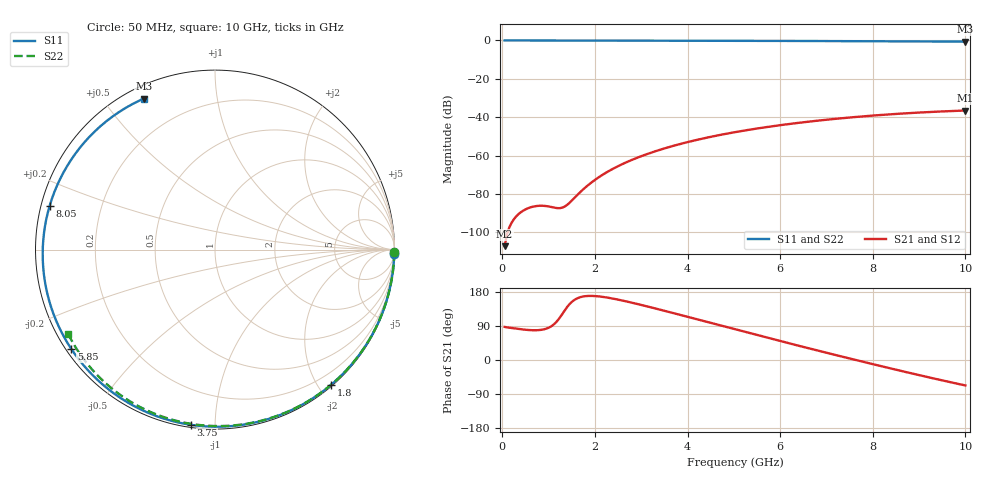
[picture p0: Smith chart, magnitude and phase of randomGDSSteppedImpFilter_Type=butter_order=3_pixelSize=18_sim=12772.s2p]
! freq	dB(S11)	phase(S11)	dB(S12)	phase(S12)
!  dB(S21)	phase(S21)	dB(S22)	phase(S22)
!S-par simulation data
#  GHz  S  DB  R 50
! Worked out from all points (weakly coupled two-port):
!   200 points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, 50 MHz to 10 GHz, reference 50 ohm
!   highest |S21| = -36.51 dB at 10 GHz (marker M1); lowest = -107.2 dB at 50 MHz (marker M2)
!   lowest |S11| = -0.6 dB at 10 GHz (marker M3), VSWR 27.72, Z = 2.53 + j31.6 ohm
!   |S11| at or under -10 dB: nowhere
!   |S22| runs from -0.5 to 0.0 dB; largest |S21 - S12| = 0
!   S11 on the Smith chart (normalised r, x): 50 MHz: 3, -85; 1.8 GHz: 0.02, -2.18; 3.75 GHz: 0.01, -0.87; 5.85 GHz: 0.01, -0.31; 8.05 GHz: 0.02, +0.13; 10 GHz: 0.05, +0.63
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0.05  -0.01 -1.4  -107.18 87.4  -107.18 87.4  -0.00 -0.8
0.4  -0.02 -11.2  -89.51 81.2  -89.51 81.2  -0.01 -6.9
0.8  -0.03 -22.3  -86.14 79.0  -86.14 79.0  -0.02 -13.8
1.2  -0.04 -33.2  -87.37 105.1  -87.37 105.1  -0.03 -20.6
1.6  -0.05 -44.0  -80.99 161.7  -80.99 161.7  -0.03 -27.4
1.65  -0.06 -45.3  -79.79 164.4  -79.79 164.4  -0.04 -28.2
1.75  -0.06 -48.0  -77.51 167.7  -77.51 167.7  -0.04 -29.9
1.8  -0.06 -49.3  -76.45 168.5  -76.45 168.5  -0.04 -30.7
2.1  -0.07 -57.1  -70.99 167.6  -70.99 167.6  -0.05 -35.7
2.45  -0.08 -66.1  -66.10 160.6  -66.10 160.6  -0.05 -41.5
2.9  -0.10 -77.4  -61.23 148.3  -61.23 148.3  -0.06 -48.8
3.4  -0.11 -89.6  -57.00 133.0  -57.00 133.0  -0.08 -56.8
3.75  -0.13 -97.9  -54.53 122.0  -54.53 122.0  -0.08 -62.3
4.4  -0.15 -113.0  -50.73 101.1  -50.73 101.1  -0.10 -72.2
5.05  -0.19 -127.6  -47.67 80.3  -47.67 80.3  -0.13 -81.9
5.85  -0.24 -145.3  -44.64 54.8  -44.64 54.8  -0.16 -93.5
6.7  -0.30 -164.1  -42.08 28.4  -42.08 28.4  -0.21 -105.4
7.4  -0.36 -179.8  -40.37 7.0  -40.37 7.0  -0.25 -115.0
8.05  -0.42 165.2  -39.06 -12.4  -39.06 -12.4  -0.30 -123.8
8.35  -0.45 158.0  -38.53 -21.2  -38.53 -21.2  -0.33 -127.8
9.15  -0.53 138.1  -37.38 -44.1  -37.38 -44.1  -0.41 -138.5
10  -0.63 115.3  -36.51 -67.2  -36.51 -67.2  -0.51 -150.0
